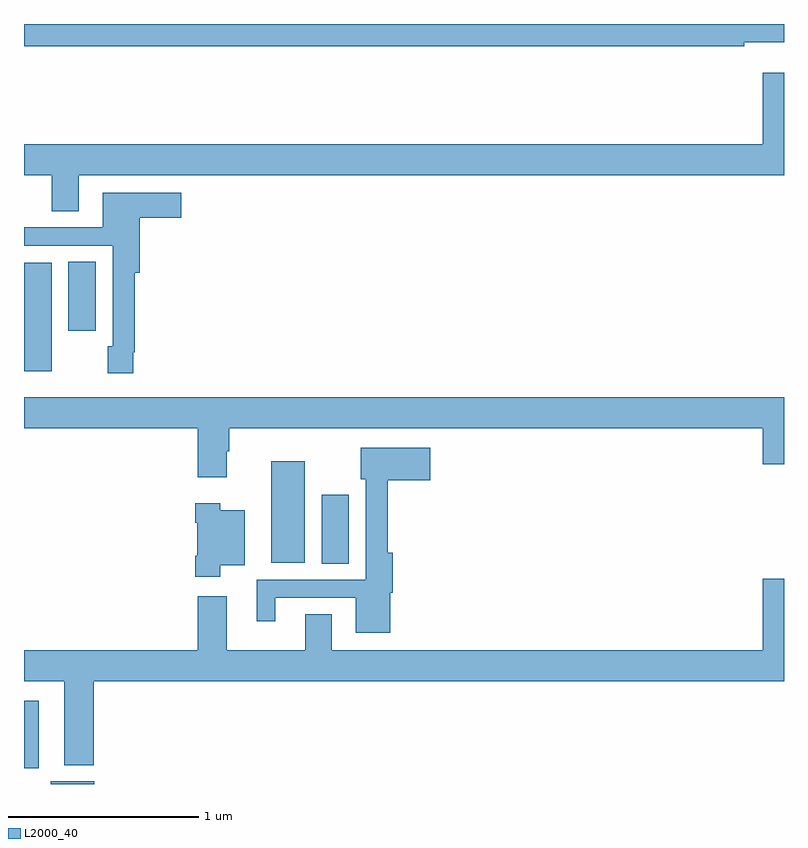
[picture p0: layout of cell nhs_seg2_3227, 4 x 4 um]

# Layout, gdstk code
import gdstk
lib = gdstk.Library(unit=1e-6, precision=1e-09)
def R(c, l, rs):  # rectangles x0, y0, x1, y1
    for r in rs: c.add(gdstk.rectangle(r[:2], r[2:], *l))
def P(c, l, *ps):  # polygons
    for p in ps: c.add(gdstk.Polygon(p, *l))
L2000_40 = (2000, 40)

nhs_seg2_3227 = lib.new_cell('nhs_seg2_3227')
R(nhs_seg2_3227, L2000_40, [(281.141,609.8,281.37,609.814), (281,609.884,281.077,610.237), (282.566,610.96,282.709,611.323), (282.302,610.964,282.478,611.5), (281,611.972,281.146,612.544), (281.234,612.186,281.377,612.548)])
P(nhs_seg2_3227, L2000_40, [(284.792,613.703),(285,613.703),(285,613.8),(281,613.8),(281,613.684),(284.792,613.684)],
  [(281.287,613.004),(285,613.004),(285,613.543),(284.888,613.543),(284.888,613.168),(281,613.168),(281,613.004),(281.147,613.004),(281.147,612.814),(281.287,612.814)],
  [(281.575,612.073),(281.582,612.073),(281.582,612.491),(281.609,612.491),(281.609,612.779),(281.827,612.779),(281.827,612.913),(281.414,612.913),(281.414,612.729),(281,612.729),(281,612.633),(281.466,612.633),(281.466,612.105),(281.44,612.105),(281.44,611.961),(281.575,611.961)],
  [(282.067,611.552),(282.08,611.552),(282.08,611.672),(284.888,611.672),(284.888,611.484),(285,611.484),(285,611.836),(281,611.836),(281,611.672),(281.915,611.672),(281.915,611.415),(282.067,611.415)],
  [(282.928,610.806),(282.941,610.806),(282.941,611.017),(282.914,611.017),(282.914,611.399),(283.138,611.399),(283.138,611.569),(282.772,611.569),(282.772,611.403),(282.798,611.403),(282.798,610.875),(282.224,610.875),(282.224,610.656),(282.322,610.656),(282.322,610.779),(282.746,610.779),(282.746,610.595),(282.928,610.595)],
  [(282.034,610.952),(282.163,610.952),(282.163,611.242),(282.034,611.242),(282.034,611.278),(281.9,611.278),(281.9,611.174),(281.912,611.174),(281.912,611.002),(281.9,611.002),(281.9,610.89),(282.034,610.89)],
  [(281.366,610.34),(285,610.34),(285,610.879),(284.888,610.879),(284.888,610.504),(282.619,610.504),(282.619,610.694),(282.479,610.694),(282.479,610.504),(282.067,610.504),(282.067,610.789),(281.915,610.789),(281.915,610.504),(281,610.504),(281,610.34),(281.213,610.34),(281.213,609.899),(281.366,609.899)])

lib.write_gds('nhs_seg2_3227.gds')
